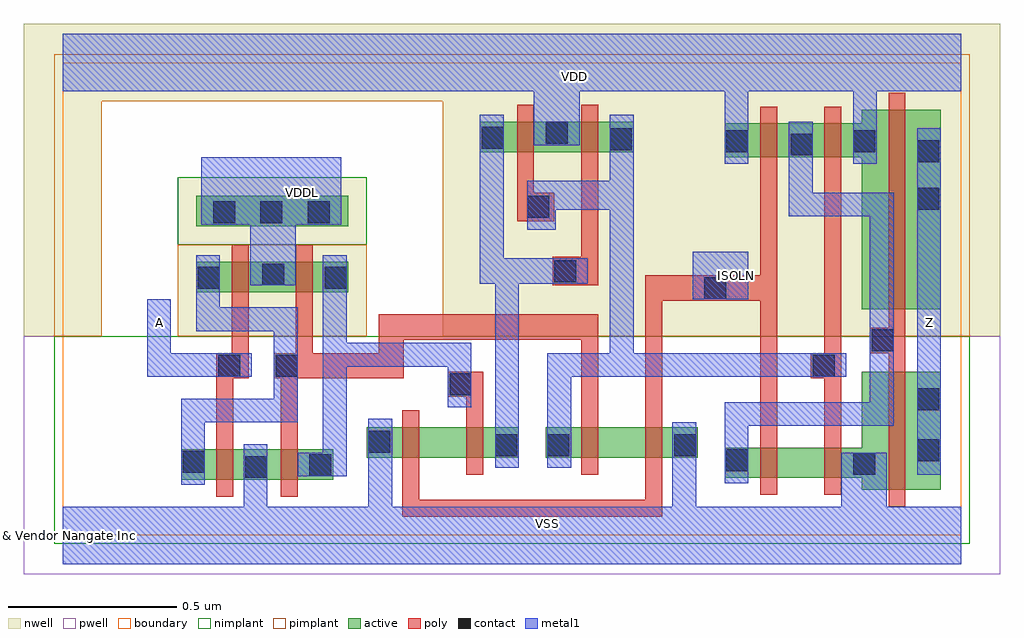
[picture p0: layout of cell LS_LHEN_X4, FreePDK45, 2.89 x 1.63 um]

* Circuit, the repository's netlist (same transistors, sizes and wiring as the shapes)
* 
* ******************************************************************************
* *                                                                            *
* *                   Copyright (C) 2004-2011, Nangate Inc.                    *
* *                           All rights reserved.                             *
* *                                                                            *
* * Nangate and the Nangate logo are trademarks of Nangate Inc.                *
* *                                                                            *
* * All trademarks, logos, software marks, and trade names (collectively the   *
* * "Marks") in this program are proprietary to Nangate or other respective    *
* * owners that have granted Nangate the right and license to use such Marks.  *
* * You are not permitted to use the Marks without the prior written consent   *
* * of Nangate or such third party that may own the Marks.                     *
* *                                                                            *
* * This file has been provided pursuant to a License Agreement containing     *
* * restrictions on its use. This file contains valuable trade secrets and     *
* * proprietary information of Nangate Inc., and is protected by U.S. and      *
* * international laws and/or treaties.                                        *
* *                                                                            *
* * The copyright notice(s) in this file does not indicate actual or intended  *
* * publication of this file.                                                  *
* *                                                                            *
* *     NGLibraryCreator, v2010.08-HR32-SP3-2010-08-05 - build 1009061800      *
* *                                                                            *
* ******************************************************************************
* 
* 
* Running on server08.nangate.com for user Giancarlo Franciscatto (gfr).
* Local time is now Thu, 6 Jan 2011, 19:45:48.
* Main process id is 3320.
*
********************************************************************************
*                                                                              *
* Cellname:   LS_LHEN_X4.                                                      *
*                                                                              *
* Technology: NCSU FreePDK 45nm.                                               *
* Format:     Cdl.                                                             *
*                                                                              *
* Written on server08.nangate.com for user Giancarlo Franciscatto (gfr)        *
* at 19:45:48 on Thu, 6 Jan 2011.                                              *
*                                                                              *
********************************************************************************
.SUBCKT LS_LHEN_X4 A ISOLN Z VDD VDDL VSS 
*.PININFO A:I ISOLN:I Z:O VDD:P VDDL:P VSS:G 
*.EQN Z=(A * ISOLN)
M_i_0 VSS A net_000 VSS NMOS_VTL W=0.090000U L=0.050000U
M_i_7 net_001 net_000 VSS VSS NMOS_VTL W=0.090000U L=0.050000U
M_i_13 net_002 ISOLN VSS VSS NMOS_VTL W=0.090000U L=0.050000U
M_i_18 net_003 net_001 net_002 VSS NMOS_VTL W=0.090000U L=0.050000U
M_i_24 net_005 net_000 net_004 VSS NMOS_VTL W=0.090000U L=0.050000U
M_i_29 VSS ISOLN net_005 VSS NMOS_VTL W=0.090000U L=0.050000U
M_i_35 net_007 ISOLN net_006 VSS NMOS_VTL W=0.090000U L=0.050000U
M_i_40 VSS net_004 net_007 VSS NMOS_VTL W=0.090000U L=0.050000U
M_i_46 Z net_006 VSS VSS NMOS_VTL W=0.350000U L=0.050000U
M_i_53 VDDL A net_000 VDDL PMOS_VTL W=0.090000U L=0.050000U
M_i_60 net_001 net_000 VDDL VDDL PMOS_VTL W=0.090000U L=0.050000U
M_i_66 VDD net_004 net_003 VDD PMOS_VTL W=0.090000U L=0.050000U
M_i_73 net_004 net_003 VDD VDD PMOS_VTL W=0.090000U L=0.050000U
M_i_79 net_006 ISOLN VDD VDD PMOS_VTL W=0.100000U L=0.050000U
M_i_86 VDD net_004 net_006 VDD PMOS_VTL W=0.100000U L=0.050000U
M_i_92 Z net_006 VDD VDD PMOS_VTL W=0.590000U L=0.050000U
.ENDS 

********************************************************************************
*
* END
*
********************************************************************************

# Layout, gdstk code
import gdstk
lib = gdstk.Library(unit=1e-6, precision=1e-10)
def R(c, l, rs):  # rectangles x0, y0, x1, y1
    for r in rs: c.add(gdstk.rectangle(r[:2], r[2:], *l))
def A(c, l, x, y, w, h, nx, ny, dx, dy):  # array of equal rectangles
    R(c, l, [(x+i*dx, y+j*dy, x+i*dx+w, y+j*dy+h) for i in range(nx) for j in range(ny)])
def P(c, l, *ps):  # polygons
    for p in ps: c.add(gdstk.Polygon(p, *l))
active = (1, 0)
pwell = (2, 0)
nwell = (3, 0)
nimplant = (4, 0)
pimplant = (5, 0)
poly = (9, 0)
contact = (10, 0)
metal1 = (11, 0)
boundary = (235, 0)

ls_lhen_x4 = lib.new_cell('LS_LHEN_X4')
R(ls_lhen_x4, active, [(0.35,0.165,0.8,0.255), (0.9,0.23,1.35,0.32), (1.43,0.23,1.88,0.32), (0.395,0.72,0.845,0.81), (0.395,0.915,0.845,1.005), (1.235,1.135,1.69,1.225)])
P(ls_lhen_x4, active, [(1.96,0.17),(2.365,0.17),(2.365,0.135),(2.6,0.135),(2.6,0.485),(2.365,0.485),(2.365,0.26),(1.96,0.26)],
  [(1.96,1.12),(2.365,1.12),(2.365,0.67),(2.6,0.67),(2.6,1.26),(2.365,1.26),(2.365,1.22),(1.96,1.22)])
R(ls_lhen_x4, pwell, [(-0.115,-0.115,2.775,0.59)])
R(ls_lhen_x4, nwell, [(0.34,0.59,0.9,1.06)])
P(ls_lhen_x4, nwell, [(-0.115,0.59),(0.115,0.59),(0.115,1.285),(1.125,1.285),(1.125,0.59),(2.775,0.59),(2.775,1.515),(-0.115,1.515)])
R(ls_lhen_x4, nimplant, [(-0.025,-0.025,2.685,0.59), (0.34,0.86,0.9,1.06)])
R(ls_lhen_x4, pimplant, [(0.34,0.59,0.9,0.86)])
P(ls_lhen_x4, pimplant, [(-0.025,0.59),(0.115,0.59),(0.115,1.285),(1.125,1.285),(1.125,0.59),(2.685,0.59),(2.685,1.425),(-0.025,1.425)])
P(ls_lhen_x4, poly, [(1.345,0.93),(1.455,0.93),(1.455,1.015),(1.395,1.015),(1.395,1.275),(1.345,1.275)],
  [(0.625,0.465),(0.645,0.465),(0.645,0.115),(0.695,0.115),(0.695,0.465),(1.01,0.465),(1.01,0.58),(1.535,0.58),(1.535,0.18),(1.585,0.18),(1.585,0.655),(0.935,0.655),(0.935,0.54),(0.74,0.54),(0.74,0.86),(0.69,0.86),(0.69,0.54),(0.625,0.54)],
  [(1.45,0.74),(1.585,0.74),(1.585,1.275),(1.535,1.275),(1.535,0.825),(1.45,0.825)],
  [(1.005,0.055),(1.775,0.055),(1.775,0.695),(2.065,0.695),(2.065,0.12),(2.115,0.12),(2.115,1.27),(2.065,1.27),(2.065,0.77),(1.725,0.77),(1.725,0.105),(1.055,0.105),(1.055,0.37),(1.005,0.37)],
  [(2.215,0.465),(2.255,0.465),(2.255,0.12),(2.305,0.12),(2.305,1.27),(2.255,1.27),(2.255,0.54),(2.215,0.54)],
  [(2.39,0.54),(2.445,0.54),(2.445,0.085),(2.495,0.085),(2.495,1.31),(2.445,1.31),(2.445,0.615),(2.39,0.615)],
  [(0.455,0.115),(0.505,0.115),(0.505,0.465),(0.55,0.465),(0.55,0.86),(0.5,0.86),(0.5,0.54),(0.455,0.54)],
  [(1.14,0.41),(1.195,0.41),(1.195,0.18),(1.245,0.18),(1.245,0.485),(1.14,0.485)])
A(ls_lhen_x4, contact, 0.445, 0.925, 0.065, 0.065, 3, 1, 0.14, 0)
R(ls_lhen_x4, contact, [(0.54,0.17,0.605,0.235), (0.73,0.175,0.795,0.24), (2.34,0.18,2.405,0.245), (0.355,0.185,0.42,0.25), (1.965,0.19,2.03,0.255), (2.53,0.22,2.595,0.285), (1.28,0.235,1.345,0.3), (1.435,0.235,1.5,0.3), (1.81,0.235,1.875,0.3), (0.905,0.245,0.97,0.31), (2.53,0.37,2.595,0.435), (1.145,0.415,1.21,0.48), (0.46,0.47,0.525,0.535), (0.63,0.47,0.695,0.535), (2.22,0.47,2.285,0.535), (2.395,0.545,2.46,0.61), (1.9,0.7,1.965,0.765), (0.4,0.73,0.465,0.795), (0.775,0.73,0.84,0.795), (0.59,0.74,0.655,0.805), (1.455,0.75,1.52,0.815), (1.375,0.94,1.44,1.005), (2.53,0.965,2.595,1.03), (2.53,1.105,2.595,1.17), (2.155,1.125,2.22,1.19), (1.965,1.135,2.03,1.2), (2.34,1.135,2.405,1.2), (1.62,1.14,1.685,1.205), (1.24,1.145,1.305,1.21), (1.43,1.16,1.495,1.225)])
R(ls_lhen_x4, metal1, [(2.53,0.18,2.6,1.205), (1.865,0.7,2.03,0.84)])
P(ls_lhen_x4, metal1, [(0.25,0.47),(0.56,0.47),(0.56,0.54),(0.32,0.54),(0.32,0.7),(0.25,0.7)],
  [(0.395,0.605),(0.625,0.605),(0.625,0.405),(0.35,0.405),(0.35,0.15),(0.42,0.15),(0.42,0.335),(0.695,0.335),(0.695,0.675),(0.465,0.675),(0.465,0.83),(0.395,0.83)],
  [(0.41,0.92),(0.555,0.92),(0.555,0.74),(0.69,0.74),(0.69,0.92),(0.825,0.92),(0.825,1.12),(0.41,1.12)],
  [(0.695,0.175),(0.84,0.175),(0.84,0.5),(1.14,0.5),(1.14,0.38),(1.21,0.38),(1.21,0.57),(0.84,0.57),(0.84,0.83),(0.77,0.83),(0.77,0.245),(0.695,0.245)],
  [(1.235,0.745),(1.28,0.745),(1.28,0.2),(1.35,0.2),(1.35,0.745),(1.555,0.745),(1.555,0.82),(1.305,0.82),(1.305,1.245),(1.235,1.245)],
  [(1.375,0.905),(1.46,0.905),(1.46,0.965),(1.62,0.965),(1.62,0.54),(1.435,0.54),(1.435,0.2),(1.505,0.2),(1.505,0.47),(2.32,0.47),(2.32,0.54),(1.69,0.54),(1.69,1.245),(1.62,1.245),(1.62,1.05),(1.375,1.05)],
  [(2.15,0.945),(2.39,0.945),(2.39,0.395),(1.96,0.395),(1.96,0.155),(2.03,0.155),(2.03,0.325),(2.46,0.325),(2.46,1.015),(2.22,1.015),(2.22,1.225),(2.15,1.225)],
  [(0,-0.085),(2.66,-0.085),(2.66,0.085),(2.44,0.085),(2.44,0.245),(2.305,0.245),(2.305,0.085),(1.875,0.085),(1.875,0.335),(1.805,0.335),(1.805,0.085),(0.975,0.085),(0.975,0.345),(0.905,0.345),(0.905,0.085),(0.605,0.085),(0.605,0.27),(0.535,0.27),(0.535,0.085),(0,0.085)],
  [(0,1.315),(1.395,1.315),(1.395,1.155),(1.53,1.155),(1.53,1.315),(1.96,1.315),(1.96,1.1),(2.03,1.1),(2.03,1.315),(2.34,1.315),(2.34,1.1),(2.41,1.1),(2.41,1.315),(2.66,1.315),(2.66,1.485),(0,1.485)])
R(ls_lhen_x4, boundary, [(0,0,2.66,1.4)])
ls_lhen_x4.add(gdstk.Label('VDDL', (0.71,1.015), layer=11, texttype=0))
ls_lhen_x4.add(gdstk.Label('A', (0.285,0.63), layer=11, texttype=0))
ls_lhen_x4.add(gdstk.Label('VSS', (1.435,0.035), layer=11, texttype=0))
ls_lhen_x4.add(gdstk.Label('VDD', (1.515,1.36), layer=11, texttype=0))
ls_lhen_x4.add(gdstk.Label('Z', (2.565,0.63), layer=11, texttype=0))
ls_lhen_x4.add(gdstk.Label('ISOLN', (1.995,0.77), layer=11, texttype=0))
ls_lhen_x4.add(gdstk.Label('& Vendor Nangate Inc', (0,0), layer=63, texttype=63))
ls_lhen_x4.add(gdstk.Label('& Product Open Cell Library', (0,0), layer=63, texttype=63))
ls_lhen_x4.add(gdstk.Label('& Version 2010_12', (0,0), layer=63, texttype=63))
ls_lhen_x4.add(gdstk.Label('& Instance LS_LHEN_X4', (0,0), layer=63, texttype=63))

lib.write_gds('LS_LHEN_X4.gds')
